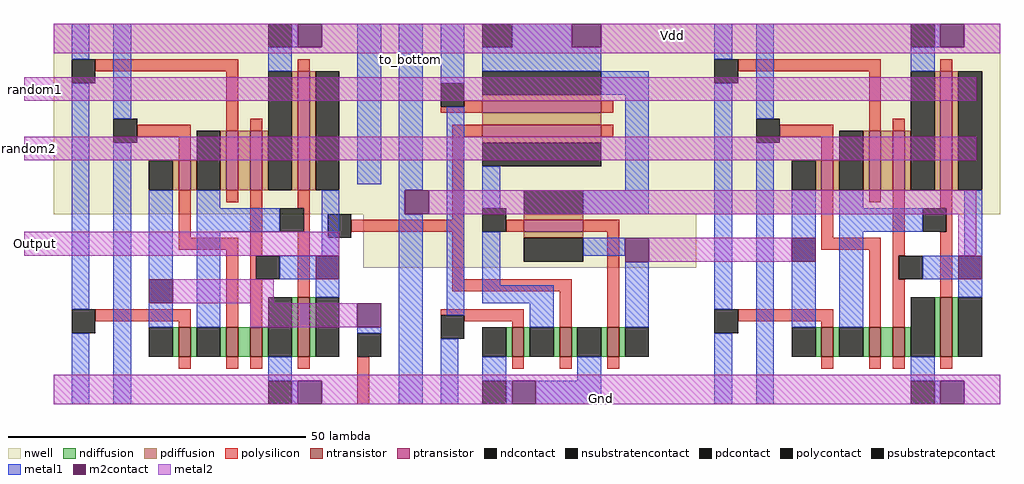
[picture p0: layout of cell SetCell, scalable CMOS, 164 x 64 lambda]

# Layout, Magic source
magic
tech scmos
<< nwell >>
rect 39 29 96 61
rect 40 20 96 29
<< polysilicon >>
rect 57 47 60 48
rect 53 46 60 47
rect 80 46 82 48
rect 55 42 60 44
rect 80 42 82 44
rect 55 28 57 42
rect 38 26 57 28
rect 64 26 67 28
rect 77 26 83 28
rect 55 18 57 26
rect 55 16 75 18
rect 53 12 67 13
rect 57 11 67 12
rect 65 10 67 11
rect 73 10 75 16
rect 81 10 83 26
rect 39 -3 41 5
rect 65 3 67 5
rect 73 3 75 5
rect 81 3 83 5
<< ndiffusion >>
rect 64 5 65 10
rect 67 5 68 10
rect 72 5 73 10
rect 75 5 76 10
rect 80 5 81 10
rect 83 5 84 10
<< pdiffusion >>
rect 60 48 80 49
rect 60 44 80 46
rect 60 41 80 42
rect 67 28 77 29
rect 67 25 77 26
<< metal1 >>
rect 39 34 43 61
rect 46 33 50 61
rect 53 51 57 61
rect 65 57 75 61
rect 60 53 80 57
rect 80 49 88 53
rect 46 29 47 33
rect 39 9 43 10
rect 46 -3 50 29
rect 54 12 57 47
rect 60 30 63 37
rect 84 33 88 49
rect 77 29 88 33
rect 60 17 63 26
rect 77 22 84 25
rect 60 14 72 17
rect 68 10 72 14
rect 84 10 88 21
rect 53 -3 56 8
rect 60 1 64 5
rect 76 1 80 5
rect 64 -3 65 1
rect 69 -3 80 1
<< metal2 >>
rect 39 57 75 61
rect 80 57 96 61
rect 39 56 96 57
rect -17 48 143 52
rect -17 38 143 42
rect 51 29 143 33
rect -17 22 36 26
rect 88 21 112 25
rect 140 22 143 29
rect 8 14 25 18
rect 21 10 39 14
rect 39 1 96 2
rect 39 -3 65 1
rect 69 -3 96 1
<< ntransistor >>
rect 65 5 67 10
rect 73 5 75 10
rect 81 5 83 10
<< ptransistor >>
rect 60 46 80 48
rect 60 42 80 44
rect 67 26 77 28
<< polycontact >>
rect 53 47 57 51
rect 34 25 38 29
rect 60 26 64 30
rect 39 5 43 9
rect 53 8 57 12
<< ndcontact >>
rect 60 5 64 10
rect 68 5 72 10
rect 76 5 80 10
rect 84 5 88 10
<< pdcontact >>
rect 60 49 80 53
rect 60 37 80 41
rect 67 29 77 33
rect 67 21 77 25
<< m2contact >>
rect 75 57 80 61
rect 47 29 51 33
rect 32 18 36 22
rect 4 14 8 18
rect 39 10 43 14
rect 84 21 88 25
rect 112 21 116 25
rect 140 18 144 22
rect 65 -3 69 1
<< psubstratepcontact >>
rect 60 -3 64 1
<< nsubstratencontact >>
rect 60 57 65 61
use InvLatch InvLatch_0
transform 1 0 -11 0 1 -3
box -1 0 50 64
use InvLatch InvLatch_1
transform 1 0 97 0 1 -3
box -1 0 50 64
<< labels >>
rlabel metal2 -15 50 -15 50 3 random1
rlabel metal2 -16 40 -16 40 3 random2
rlabel metal1 48 55 48 55 1 to_bottom
rlabel metal1 55 54 55 54 1 Set
rlabel metal2 80 -2 80 -2 1 Gnd
rlabel metal2 -15 24 -15 24 3 Output
rlabel metal2 92 59 92 59 5 Vdd
<< end >>

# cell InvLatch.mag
magic
tech scmos
<< nwell >>
rect -1 32 50 64
<< polysilicon >>
rect 6 56 30 58
rect 40 56 42 58
rect 13 45 22 47
rect 28 46 30 56
rect 32 46 34 48
rect 20 41 22 45
rect 20 28 22 36
rect 28 34 30 36
rect 20 26 30 28
rect 6 14 22 16
rect 20 13 22 14
rect 28 13 30 26
rect 32 25 34 36
rect 40 33 42 36
rect 41 29 42 33
rect 32 21 33 25
rect 32 13 34 21
rect 40 18 42 29
rect 20 6 22 8
rect 28 6 30 8
rect 32 6 34 8
rect 40 6 42 8
<< ndiffusion >>
rect 19 8 20 13
rect 22 8 23 13
rect 27 8 28 13
rect 30 8 32 13
rect 34 8 35 13
rect 39 8 40 18
rect 42 8 43 18
<< pdiffusion >>
rect 19 36 20 41
rect 22 36 23 41
rect 27 36 28 46
rect 30 36 32 46
rect 34 36 35 46
rect 39 36 40 56
rect 42 36 43 56
<< metal1 >>
rect 2 58 5 64
rect 2 16 5 54
rect 9 48 12 64
rect 39 60 40 64
rect 35 56 39 60
rect 2 0 5 12
rect 9 0 12 44
rect 15 13 19 36
rect 23 33 27 36
rect 23 29 37 33
rect 23 13 27 29
rect 44 25 47 36
rect 37 21 47 25
rect 43 18 47 21
rect 35 4 39 8
rect 39 0 40 4
<< metal2 >>
rect -1 60 40 64
rect 44 60 50 64
rect -1 59 50 60
rect -1 4 50 5
rect -1 0 40 4
rect 44 0 50 4
<< ntransistor >>
rect 20 8 22 13
rect 28 8 30 13
rect 32 8 34 13
rect 40 8 42 18
<< ptransistor >>
rect 20 36 22 41
rect 28 36 30 46
rect 32 36 34 46
rect 40 36 42 56
<< polycontact >>
rect 2 54 6 58
rect 9 44 13 48
rect 2 12 6 16
rect 37 29 41 33
rect 33 21 37 25
<< ndcontact >>
rect 15 8 19 13
rect 23 8 27 13
rect 35 8 39 18
rect 43 8 47 18
<< pdcontact >>
rect 15 36 19 41
rect 23 36 27 46
rect 35 36 39 56
rect 43 36 47 56
<< m2contact >>
rect 40 60 44 64
rect 40 0 44 4
<< psubstratepcontact >>
rect 35 0 39 4
<< nsubstratencontact >>
rect 35 60 39 64
<< labels >>
rlabel metal2 34 2 34 2 1 Gnd
rlabel metal1 11 21 11 21 1 Phi_b
rlabel metal1 3 22 3 22 1 Phi
rlabel metal2 31 61 31 61 1 Vdd
rlabel metal1 17 22 17 22 1 In
rlabel metal1 46 30 46 30 1 Out_b
<< end >>
